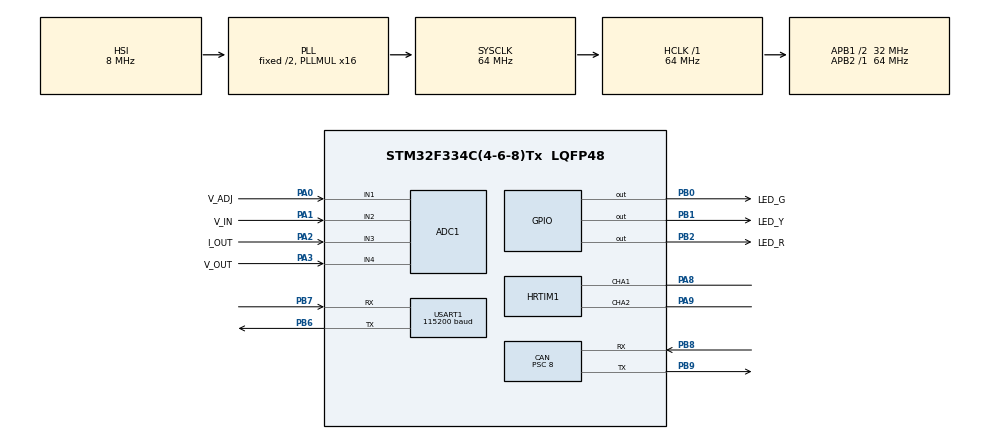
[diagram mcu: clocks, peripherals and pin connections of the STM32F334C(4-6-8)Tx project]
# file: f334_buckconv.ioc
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ADC1.ContinuousConvMode=DISABLE
ADC1.EnableInjectedConversion=ENABLE
ADC1.EnableRegularConversion=DISABLE
ADC1.ExternalTrigInjecConv=ADC_EXTERNALTRIGINJECCONV_HRTIM_TRG2
ADC1.InjNumberOfConversion=4
ADC1.InjectedChannel-12\#ChannelInjectedConversion=ADC_CHANNEL_1
ADC1.InjectedChannel-13\#ChannelInjectedConversion=ADC_CHANNEL_2
ADC1.InjectedChannel-14\#ChannelInjectedConversion=ADC_CHANNEL_3
ADC1.InjectedChannel-15\#ChannelInjectedConversion=ADC_CHANNEL_4
ADC1.InjectedOffset-12\#ChannelInjectedConversion=0
ADC1.InjectedOffset-13\#ChannelInjectedConversion=0
ADC1.InjectedOffset-14\#ChannelInjectedConversion=0
ADC1.InjectedOffset-15\#ChannelInjectedConversion=0
ADC1.InjectedOffsetNumber-12\#ChannelInjectedConversion=ADC_OFFSET_NONE
ADC1.InjectedOffsetNumber-13\#ChannelInjectedConversion=ADC_OFFSET_NONE
ADC1.InjectedOffsetNumber-14\#ChannelInjectedConversion=ADC_OFFSET_NONE
ADC1.InjectedOffsetNumber-15\#ChannelInjectedConversion=ADC_OFFSET_NONE
ADC1.InjectedRank-12\#ChannelInjectedConversion=1
ADC1.InjectedRank-13\#ChannelInjectedConversion=2
ADC1.InjectedRank-14\#ChannelInjectedConversion=3
ADC1.InjectedRank-15\#ChannelInjectedConversion=4
ADC1.InjectedSamplingTime-12\#ChannelInjectedConversion=ADC_SAMPLETIME_2CYCLES_5
ADC1.InjectedSamplingTime-13\#ChannelInjectedConversion=ADC_SAMPLETIME_2CYCLES_5
ADC1.InjectedSamplingTime-14\#ChannelInjectedConversion=ADC_SAMPLETIME_2CYCLES_5
ADC1.InjectedSamplingTime-15\#ChannelInjectedConversion=ADC_SAMPLETIME_2CYCLES_5
ADC1.InjectedSamplingTimeOPAMP-12\#ChannelInjectedConversion=ADC_SAMPLETIME_61CYCLES_5
ADC1.InjectedSamplingTimeOPAMP-13\#ChannelInjectedConversion=ADC_SAMPLETIME_61CYCLES_5
ADC1.InjectedSamplingTimeOPAMP-14\#ChannelInjectedConversion=ADC_SAMPLETIME_61CYCLES_5
ADC1.InjectedSamplingTimeOPAMP-15\#ChannelInjectedConversion=ADC_SAMPLETIME_61CYCLES_5
ADC1.Rank1_Channel=ADC_CHANNEL_1
ADC1.Rank2_Channel=ADC_CHANNEL_2
ADC1.Rank3_Channel=ADC_CHANNEL_3
ADC1.Rank4_Channel=ADC_CHANNEL_4
ADC1.SubFamily=STM32F334x8
ADC1.master=1
CAN.BS1=CAN_BS1_2TQ
CAN.CalculateBaudRate=1000000
CAN.CalculateTimeBit=1000
CAN.CalculateTimeQuantum=250.0
CAN.Mode=CAN_MODE_NORMAL
CAN.Prescaler=8
Dma.Request0=USART1_RX
Dma.Request1=USART1_TX
Dma.USART1_RX.0.Direction=DMA_PERIPH_TO_MEMORY
Dma.USART1_RX.0.Instance=DMA1_Channel5
Dma.USART1_RX.0.MemDataAlignment=DMA_MDATAALIGN_BYTE
Dma.USART1_RX.0.MemInc=DMA_MINC_ENABLE
Dma.USART1_RX.0.Mode=DMA_NORMAL
Dma.USART1_RX.0.PeriphDataAlignment=DMA_PDATAALIGN_BYTE
Dma.USART1_RX.0.PeriphInc=DMA_PINC_DISABLE
Dma.USART1_RX.0.Priority=DMA_PRIORITY_LOW
Dma.USART1_TX.1.Direction=DMA_MEMORY_TO_PERIPH
Dma.USART1_TX.1.Instance=DMA1_Channel4
Dma.USART1_TX.1.MemDataAlignment=DMA_MDATAALIGN_BYTE
Dma.USART1_TX.1.MemInc=DMA_MINC_ENABLE
Dma.USART1_TX.1.Mode=DMA_NORMAL
Dma.USART1_TX.1.PeriphDataAlignment=DMA_PDATAALIGN_BYTE
Dma.USART1_TX.1.PeriphInc=DMA_PINC_DISABLE
Dma.USART1_TX.1.Priority=DMA_PRIORITY_LOW
HRTIM1.ADCTrigger2_Source1=HRTIM_ADCTRIGGEREVENT24_TIMERA_CMP3
HRTIM1.ADCTrigger_Id1=__NULL
HRTIM1.ADCTrigger_Id2=HRTIM_ADCTRIGGER_2
HRTIM1.CompareUnit1-Output_TA1TA2=HRTIM_COMPAREUNIT_1
HRTIM1.CompareUnit2-Output_TA1TA2=__NULL
HRTIM1.CompareUnit3-Output_TA1TA2=HRTIM_COMPAREUNIT_3
HRTIM1.CompareUnit4-Output_TA1TA2=__NULL
HRTIM1.CompareValue1-Output_TA1TA2=1000
HRTIM1.CompareValue3-Output_TA1TA2=200
HRTIM1.DeadTimeInsertion-Output_TA1TA2=HRTIM_TIMDEADTIMEINSERTION_ENABLED
HRTIM1.FallingValue-Output_TA1TA2=150
HRTIM1.NumberADCTriggerSource2=1
HRTIM1.NumberResetSource1-Output_TA1TA2=1
HRTIM1.NumberSetSource1-Output_TA1TA2=1
HRTIM1.Periode_TA=10240
HRTIM1.PrescalerRatio_TA=HRTIM_PRESCALERRATIO_MUL16
HRTIM1.RepetitionCounter-Output_TA1TA2=10-1
HRTIM1.ResetOutput1_Source1-Output_TA1TA2=HRTIM_OUTPUTRESET_TIMCMP1
HRTIM1.RisingValue-Output_TA1TA2=150
HRTIM1.SetOutput1_Source1-Output_TA1TA2=HRTIM_OUTPUTSET_TIMPER
Mcu.Family=STM32F3
Mcu.Name=STM32F334C(4-6-8)Tx
Mcu.Package=LQFP48
NVIC.ADC1_2_IRQn=true\:0\:0\:false\:false\:true\:true\:true\:true
NVIC.CAN_RX0_IRQn=true\:0\:0\:false\:false\:true\:true\:true\:true
NVIC.DMA1_Channel4_IRQn=true\:0\:0\:false\:false\:true\:false\:true\:true
NVIC.DMA1_Channel5_IRQn=true\:0\:0\:false\:false\:true\:false\:true\:true
NVIC.PriorityGroup=NVIC_PRIORITYGROUP_4
NVIC.TIM1_UP_TIM16_IRQn=true\:0\:0\:false\:false\:true\:true\:true\:true
NVIC.USART1_IRQn=true\:0\:0\:false\:false\:true\:true\:true\:true
PA0.GPIO_Label=V_ADJ
PA0.Mode=IN1-Single-Ended
PA0.Signal=ADC1_IN1
PA1.GPIO_Label=V_IN
PA1.Mode=IN2-Single-Ended
PA1.Signal=ADC1_IN2
PA2.GPIO_Label=I_OUT
PA2.Mode=IN3-Single-Ended
PA2.Signal=ADC1_IN3
PA3.GPIO_Label=V_OUT
PA3.Mode=IN4-Single-Ended
PA3.Signal=ADC1_IN4
PA8.Mode=Output_TA1TA2
PA8.Signal=HRTIM1_CHA1
PA9.Mode=Output_TA1TA2
PA9.Signal=HRTIM1_CHA2
PB0.GPIO_Label=LED_G
PB0.Signal=GPIO_Output
PB1.GPIO_Label=LED_Y
PB1.Signal=GPIO_Output
PB2.GPIO_Label=LED_R
PB2.Signal=GPIO_Output
PB6.Mode=Asynchronous
PB6.Signal=USART1_TX
PB7.Mode=Asynchronous
PB7.Signal=USART1_RX
PB8.GPIO_PuPd=GPIO_NOPULL
PB8.Mode=CAN_Activate
PB8.Signal=CAN_RX
PB9.Mode=CAN_Activate
PB9.Signal=CAN_TX
ProjectManager.HeapSize=0x200
ProjectManager.StackSize=0x400
ProjectManager.TargetToolchain=STM32CubeIDE
RCC.AHBFreq_Value=64000000
RCC.APB1CLKDivider=RCC_HCLK_DIV2
RCC.APB1Freq_Value=32000000
RCC.APB1TimFreq_Value=64000000
RCC.APB2Freq_Value=64000000
RCC.APB2TimFreq_Value=64000000
RCC.CortexFreq_Value=64000000
RCC.HCLKFreq_Value=64000000
RCC.HRTIMSelection=RCC_HRTIM1CLK_PLLCLK
RCC.HSE_VALUE=8000000
RCC.HSI_VALUE=8000000
RCC.LSE_VALUE=32768
RCC.PLLMUL=RCC_PLL_MUL16
RCC.SYSCLKFreq_VALUE=64000000
RCC.SYSCLKSourceVirtual=RCC_SYSCLKSOURCE_PLLCLK
RCC.TIM1Selection=RCC_TIM1CLK_PLLCLK
TIM1.Period=500-1
TIM1.Prescaler=64-1
USART1.AutoBaudRateEnableParam=UART_ADVFEATURE_AUTOBAUDRATE_DISABLE
USART1.BaudRate=115200
USART1.VirtualMode-Asynchronous=VM_ASYNC
VP_TIM1_VS_ClockSourceINT.Mode=Internal
board=custom

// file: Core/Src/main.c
/* USER CODE BEGIN Header */
/**
  ******************************************************************************
  * @file           : main.c
  * @brief          : Main program body
  ******************************************************************************
  * @attention
  *
  * Copyright (c) 2026 STMicroelectronics.
  * All rights reserved.
  *
  * This software is licensed under terms that can be found in the LICENSE file
  * in the root directory of this software component.
  * If no LICENSE file comes with this software, it is provided AS-IS.
  *
  ******************************************************************************
  */
/* USER CODE END Header */
#include "main.h"

/* USER CODE BEGIN Includes */
#include "controller_app.h"
#include <string.h>
#include "stdbool.h"
/* USER CODE END Includes */

ADC_HandleTypeDef hadc1;

CAN_HandleTypeDef hcan;

HRTIM_HandleTypeDef hhrtim1;

TIM_HandleTypeDef htim1;

UART_HandleTypeDef huart1;
DMA_HandleTypeDef hdma_usart1_rx;
DMA_HandleTypeDef hdma_usart1_tx;

void SystemClock_Config(void);
static void MX_GPIO_Init(void);
static void MX_DMA_Init(void);
static void MX_HRTIM1_Init(void);
static void MX_TIM1_Init(void);
static void MX_ADC1_Init(void);
static void MX_USART1_UART_Init(void);
static void MX_CAN_Init(void);

/* USER CODE BEGIN 0 */

#define VOLTAGE_ADC_FACTOR 3.3f/4096.0f
#define R1_VIN_DIVIDER 3300.0f
#define R2_VIN_DIVIDER 47000.0f

//#define VIN_ADC_FACTOR 0.01228027344
#define VIN_ADC_FACTOR VOLTAGE_ADC_FACTOR*(R1_VIN_DIVIDER+R2_VIN_DIVIDER)/R1_VIN_DIVIDER

#define RF_VOUT 3300.0f
#define RINV_VOUT 47000.0f
#define VOUT_GAIN RF_VOUT/RINV_VOUT

#define VOUT_ADC_FACTOR 0.01147460938
//#define VOUT_ADC_FACTOR VOLTAGE_ADC_FACTOR/VOUT_GAIN

#define RF_IOUT 33000.0f
#define RINV_IOUT 100.0f
#define IOUT_GAIN RF_IOUT/RINV_IOUT
#define RSHUNT_IOUT 0.001f

#define IOUT_ADC_FACTOR 0.0024414062
//#define IOUT_ADC_FACTOR VOLTAGE_ADC_FACTOR/(IOUT_GAIN*RSHUNT_IOUT)

#define HRTIM_PERIOD 10240
#define MAX_DUTY_CYCLE (HRTIM_PERIOD * 0.95f) // จำกัด Duty สูงสุดที่ 95% เพื่อความปลอดภัย

#define VOLTAGE_OUTPUT_LIMIT 8.0f //Volt
#define CURRENT_OUTPUT_LIMIT 0.25f  //Amp

uint32_t new_duty_cycle_value = 2000;
uint32_t count_check = 0;
uint16_t adc_adj = 0;
uint16_t adc_vin = 0;
uint16_t adc_vo = 0;
uint16_t adc_io = 0;
uint16_t even_loop = 0;

uint8_t calibration_flag = 0;

uint16_t controller_mode = VOLTAGE_CONTROL_MODE;
CONTROL_MODE last_mode = UNKNOW_CONTROL_MODE;

uint32_t previous_milliseccond = 0;
uint32_t period_time = 20;

float v_adj = 0.0f;
float v_in = 0.0f;
float v_out = 0.0f;
float i_out = 0.0f;
float i_out_offset = 0.0341796875f;
float target_current = 0.0f;
float target_voltage = 0.0f;
float sp_input = 12.0f;

//PI_Controller pi_current = {0.042412f, 86.70796f, 0.000005f, 0.0f, 4.0f};
PI_Controller pi_current = {40.0f, 100000.0f, 0.00005f, 0.0f, MAX_DUTY_CYCLE};
PI_Controller pi_voltage = {0.1f, 40.0f, 0.0005f, 0.0f, 4.5f};

uint8_t uart_rx_buf[64];
uint16_t uart_rx_buf_size = 0;

CAN_TxHeaderTypeDef can_tx_header = {0x127 , 0, CAN_ID_STD , CAN_RTR_DATA , 8};
uint8_t can_tx_data[8] = {0};
uint32_t can_tx_mailbox;

CAN_RxHeaderTypeDef can_rx_header = {0};
uint8_t can_rx_data[8] = {0};
uint32_t can_rx_mailbox;

float update_pi(PI_Controller *pi, float error) {

    float p_term = pi->Kp * error;
    pi->integral += pi->Ki * pi->Ts * error;
    if (pi->integral > pi->out_max) pi->integral = pi->out_max;
    else if (pi->integral < -pi->out_max) pi->integral = -pi->out_max;
    float output = p_term + pi->integral;
    if (output > pi->out_max) output = pi->out_max;
    else if (output < -pi->out_max) output = -pi->out_max;

    return output;
}

void HAL_UARTEx_RxEventCallback(UART_HandleTypeDef *huart, uint16_t Size){

	uart_rx_buf_size = Size;
	parse_command((char*)uart_rx_buf);
	memset(uart_rx_buf, 0, sizeof(uart_rx_buf));
	HAL_UARTEx_ReceiveToIdle_DMA(&huart1, uart_rx_buf, 64);
	__HAL_DMA_DISABLE_IT(huart1.hdmarx, DMA_IT_HT);
}

void HAL_UART_ErrorCallback(UART_HandleTypeDef *huart) {
    if(huart->ErrorCode & HAL_UART_ERROR_ORE) {
        // เกิด Overrun Error - ข้อมูลมาเร็วเกินไปจนรับไม่ทัน
        __HAL_UART_CLEAR_OREFLAG(huart); // เคลียร์ Flag เพื่อให้ทำงานต่อได้
    }
    // หลังจากเคลียร์ Error ต้องสั่งเริ่มรับข้อมูลใหม่เสมอ
    HAL_UARTEx_ReceiveToIdle_DMA(huart, uart_rx_buf, 64);
}

void HAL_TIM_PeriodElapsedCallback(TIM_HandleTypeDef *htim){
	if (htim->Instance == TIM1){

        switch (controller_mode){
        case VOLTAGE_CONTROL_MODE :
        	if (sp_input > 28.0)sp_input = 28.0f;

        	if (sp_input > target_voltage){
        		target_voltage = target_voltage + 0.01;
        	}
        	else if (sp_input < target_voltage){
        		target_voltage = target_voltage - 0.01;
        	}
        	target_current = update_pi(&pi_voltage,target_voltage - v_out);
        	break;
        case CURRENT_CONTROL_MODE :
        	if (sp_input > 0.25f)sp_input = 0.25f;
        	target_current = sp_input;
        	break;
	    default:
	        break;
        }

	}

}

void HAL_ADCEx_InjectedConvCpltCallback(ADC_HandleTypeDef* hadc){

	adc_adj = hadc1.Instance->JDR1; // อ่านค่าจาก Injected Data Register 1 ตรงๆ
	adc_vin = hadc1.Instance->JDR2;
	adc_io  = hadc1.Instance->JDR3;
	adc_vo  = hadc1.Instance->JDR4;

	v_in = adc_vin*VIN_ADC_FACTOR;
	v_out = adc_vo*VOUT_ADC_FACTOR;
	i_out = adc_io*IOUT_ADC_FACTOR - i_out_offset;

	float pid_output = update_pi(&pi_current, target_current - i_out);
	if (pid_output < 0.0f) pid_output = 0.0f;
	new_duty_cycle_value = (uint32_t)pid_output;

	__HAL_HRTIM_SETCOMPARE(&hhrtim1, HRTIM_TIMERINDEX_TIMER_A, HRTIM_COMPAREUNIT_1, new_duty_cycle_value);

}

bool emergency_shunt_48 = 0;
bool emergency_shunt_24 = 0;
bool emergency_shunt_12 = 0;

void HAL_CAN_RxFifo0MsgPendingCallback(CAN_HandleTypeDef *hcan){
	if (hcan->Instance == CAN){
		HAL_CAN_GetRxMessage(hcan, CAN_RX_FIFO0, &can_rx_header, can_rx_data);
		count_check++;
		HAL_GPIO_TogglePin(LED_G_GPIO_Port, LED_G_Pin);
		if (can_rx_header.StdId == 0x111){
			emergency_shunt_48 = can_rx_data[0] & 0x1;
			emergency_shunt_24 = can_rx_data[0] >> 1 & 0x1;
			emergency_shunt_12 = can_rx_data[0] >> 2 & 0x1;
		}
	}
}

/* USER CODE END 0 */

int main(void)
{

  /* MCU Configuration--------------------------------------------------------*/

  /* Reset of all peripherals, Initializes the Flash interface and the Systick. */
  HAL_Init();

  /* Configure the system clock */
  SystemClock_Config();

  /* Initialize all configured peripherals */
  MX_GPIO_Init();
  MX_DMA_Init();
  MX_HRTIM1_Init();
  MX_TIM1_Init();
  MX_ADC1_Init();
  MX_USART1_UART_Init();
  MX_CAN_Init();
  /* USER CODE BEGIN 2 */

  if (HAL_HRTIM_WaveformOutputStart(&hhrtim1, HRTIM_OUTPUT_TA1 | HRTIM_OUTPUT_TA2)!= HAL_OK)
  {
    Error_Handler();
  }

  if (HAL_HRTIM_WaveformCountStart(&hhrtim1, HRTIM_TIMERID_TIMER_A)!= HAL_OK)
  {
    Error_Handler();
  }

  HAL_TIM_Base_Start_IT(&htim1);

  HAL_UARTEx_ReceiveToIdle_DMA(&huart1, uart_rx_buf, 64);
  __HAL_DMA_DISABLE_IT(huart1.hdmarx, DMA_IT_HT);

  HAL_ADCEx_Calibration_Start(&hadc1, ADC_SINGLE_ENDED);
  HAL_ADCEx_InjectedStart_IT(&hadc1);

  HAL_CAN_Start(&hcan);
  HAL_CAN_ActivateNotification(&hcan, CAN_IT_RX_FIFO0_MSG_PENDING);

  /* USER CODE END 2 */

  /* Infinite loop */
  while (1)
  {

    /* USER CODE BEGIN 3 */
		if (HAL_GetTick() - previous_milliseccond > period_time){

			memset(can_tx_data , 0 ,8);
			can_tx_data[4] = ((uint16_t)(v_out * 1000)) & 0xff;
			can_tx_data[5] = ((uint16_t)(v_out * 1000)) >> 8 & 0xff;
			can_tx_data[6] = ((uint16_t)(v_in * 1000)) & 0xff;
			can_tx_data[7] = ((uint16_t)(v_in * 1000)) >> 8 & 0xff;
			can_tx_header.StdId = 0x127;
			HAL_CAN_AddTxMessage(&hcan, &can_tx_header, can_tx_data, &can_tx_mailbox);
			memset(can_tx_data , 0 ,8);
			can_tx_data[0] = ((uint16_t)(i_out * 1000)) & 0xff;
			can_tx_data[1] = ((uint16_t)(i_out * 1000)) >> 8 & 0xff;
			can_tx_header.StdId = 0x128;
			HAL_CAN_AddTxMessage(&hcan, &can_tx_header, can_tx_data, &can_tx_mailbox);

			float plot_data[16];
			uint16_t len = 0;

			switch (controller_mode) {
			case VOLTAGE_CONTROL_MODE:

				plot_data[len++] = target_voltage;
				plot_data[len++] = v_out;
				break;
			case CURRENT_CONTROL_MODE:
				plot_data[len++] = target_current;
				plot_data[len++] = i_out;
				break;
			case CAL_SENSOR:
//				plot_data[len++] = theta_mech;
//				plot_data[len++] = theta_elec;
				break;
			default:
				break;
			}

			send_data_float(plot_data, len);
		    if (controller_mode != last_mode) {
		    	last_mode = controller_mode;

		    	HAL_Delay(2);
		    	print_mode(controller_mode);
		    	erase_graph(); HAL_Delay(2);
				switch (controller_mode) {
				case VOLTAGE_CONTROL_MODE:
					send_data_float(plot_data, len); HAL_Delay(2);
					change_title("VOLTAGE CONTROL MODE"); HAL_Delay(2);
					change_legend(0, "target"); HAL_Delay(2);
					change_legend(1, "Voltage"); HAL_Delay(2);
					break;
				case CURRENT_CONTROL_MODE:
					send_data_float(plot_data, len); HAL_Delay(2);
					change_title("CURRENT CONTROL MODE"); HAL_Delay(2);
					change_legend(0, "target"); HAL_Delay(2);
					change_legend(1, "Current"); HAL_Delay(2);
					break;
				case CAL_SENSOR:
					send_data_float(plot_data, len); HAL_Delay(2);
					change_title("CALIBRATE SENSOR MODE"); HAL_Delay(2);
//					change_legend(0, "theta mech"); HAL_Delay(2);
//					change_legend(1, "theta elec"); HAL_Delay(2);
					calibration_flag = 0;
					HAL_Delay(100);

					HAL_Delay(100);
					calibration_flag = 1;
					break;
				default:
					break;
				}
		    }
		    previous_milliseccond = HAL_GetTick() ;
		}
  }
  /* USER CODE END 3 */
}

void SystemClock_Config(void)
{
  RCC_OscInitTypeDef RCC_OscInitStruct = {0};
  RCC_ClkInitTypeDef RCC_ClkInitStruct = {0};
  RCC_PeriphCLKInitTypeDef PeriphClkInit = {0};

  /** Initializes the RCC Oscillators according to the specified parameters
  * in the RCC_OscInitTypeDef structure.
  */
  RCC_OscInitStruct.OscillatorType = RCC_OSCILLATORTYPE_HSI;
  RCC_OscInitStruct.HSIState = RCC_HSI_ON;
  RCC_OscInitStruct.HSICalibrationValue = RCC_HSICALIBRATION_DEFAULT;
  RCC_OscInitStruct.PLL.PLLState = RCC_PLL_ON;
  RCC_OscInitStruct.PLL.PLLSource = RCC_PLLSOURCE_HSI;
  RCC_OscInitStruct.PLL.PLLMUL = RCC_PLL_MUL16;
  if (HAL_RCC_OscConfig(&RCC_OscInitStruct) != HAL_OK)
  {
    Error_Handler();
  }

  /** Initializes the CPU, AHB and APB buses clocks
  */
  RCC_ClkInitStruct.ClockType = RCC_CLOCKTYPE_HCLK|RCC_CLOCKTYPE_SYSCLK
                              |RCC_CLOCKTYPE_PCLK1|RCC_CLOCKTYPE_PCLK2;
  RCC_ClkInitStruct.SYSCLKSource = RCC_SYSCLKSOURCE_PLLCLK;
  RCC_ClkInitStruct.AHBCLKDivider = RCC_SYSCLK_DIV1;
  RCC_ClkInitStruct.APB1CLKDivider = RCC_HCLK_DIV2;
  RCC_ClkInitStruct.APB2CLKDivider = RCC_HCLK_DIV1;

  if (HAL_RCC_ClockConfig(&RCC_ClkInitStruct, FLASH_LATENCY_2) != HAL_OK)
  {
    Error_Handler();
  }
  PeriphClkInit.PeriphClockSelection = RCC_PERIPHCLK_HRTIM1|RCC_PERIPHCLK_USART1
                              |RCC_PERIPHCLK_TIM1|RCC_PERIPHCLK_ADC12;
  PeriphClkInit.Usart1ClockSelection = RCC_USART1CLKSOURCE_PCLK1;
  PeriphClkInit.Adc12ClockSelection = RCC_ADC12PLLCLK_DIV1;
  PeriphClkInit.Tim1ClockSelection = RCC_TIM1CLK_PLLCLK;
  PeriphClkInit.Hrtim1ClockSelection = RCC_HRTIM1CLK_PLLCLK;
  if (HAL_RCCEx_PeriphCLKConfig(&PeriphClkInit) != HAL_OK)
  {
    Error_Handler();
  }
}

static void MX_ADC1_Init(void)
{

  ADC_MultiModeTypeDef multimode = {0};
  ADC_InjectionConfTypeDef sConfigInjected = {0};

  /** Common config
  */
  hadc1.Instance = ADC1;
  hadc1.Init.ClockPrescaler = ADC_CLOCK_ASYNC_DIV1;
  hadc1.Init.Resolution = ADC_RESOLUTION_12B;
  hadc1.Init.ScanConvMode = ADC_SCAN_ENABLE;
  hadc1.Init.ContinuousConvMode = DISABLE;
  hadc1.Init.DiscontinuousConvMode = DISABLE;
  hadc1.Init.DataAlign = ADC_DATAALIGN_RIGHT;
  hadc1.Init.NbrOfConversion = 1;
  hadc1.Init.DMAContinuousRequests = DISABLE;
  hadc1.Init.EOCSelection = ADC_EOC_SINGLE_CONV;
  hadc1.Init.LowPowerAutoWait = DISABLE;
  hadc1.Init.Overrun = ADC_OVR_DATA_OVERWRITTEN;
  if (HAL_ADC_Init(&hadc1) != HAL_OK)
  {
    Error_Handler();
  }

  /** Configure the ADC multi-mode
  */
  multimode.Mode = ADC_MODE_INDEPENDENT;
  if (HAL_ADCEx_MultiModeConfigChannel(&hadc1, &multimode) != HAL_OK)
  {
    Error_Handler();
  }

  /** Configure Injected Channel
  */
  sConfigInjected.InjectedChannel = ADC_CHANNEL_1;
  sConfigInjected.InjectedRank = ADC_INJECTED_RANK_1;
  sConfigInjected.InjectedSingleDiff = ADC_SINGLE_ENDED;
  sConfigInjected.InjectedNbrOfConversion = 4;
  sConfigInjected.InjectedSamplingTime = ADC_SAMPLETIME_2CYCLES_5;
  sConfigInjected.ExternalTrigInjecConvEdge = ADC_EXTERNALTRIGINJECCONV_EDGE_RISING;
  sConfigInjected.ExternalTrigInjecConv = ADC_EXTERNALTRIGINJECCONV_HRTIM_TRG2;
  sConfigInjected.AutoInjectedConv = DISABLE;
  sConfigInjected.InjectedDiscontinuousConvMode = DISABLE;
  sConfigInjected.QueueInjectedContext = DISABLE;
  sConfigInjected.InjectedOffset = 0;
  sConfigInjected.InjectedOffsetNumber = ADC_OFFSET_NONE;
  if (HAL_ADCEx_InjectedConfigChannel(&hadc1, &sConfigInjected) != HAL_OK)
  {
    Error_Handler();
  }

  /** Configure Injected Channel
  */
  sConfigInjected.InjectedChannel = ADC_CHANNEL_2;
  sConfigInjected.InjectedRank = ADC_INJECTED_RANK_2;
  if (HAL_ADCEx_InjectedConfigChannel(&hadc1, &sConfigInjected) != HAL_OK)
  {
    Error_Handler();
  }

  /** Configure Injected Channel
  */
  sConfigInjected.InjectedChannel = ADC_CHANNEL_3;
  sConfigInjected.InjectedRank = ADC_INJECTED_RANK_3;
  if (HAL_ADCEx_InjectedConfigChannel(&hadc1, &sConfigInjected) != HAL_OK)
  {
    Error_Handler();
  }

  /** Configure Injected Channel
  */
  sConfigInjected.InjectedChannel = ADC_CHANNEL_4;
  sConfigInjected.InjectedRank = ADC_INJECTED_RANK_4;
  if (HAL_ADCEx_InjectedConfigChannel(&hadc1, &sConfigInjected) != HAL_OK)
  {
    Error_Handler();
  }

}

static void MX_CAN_Init(void)
{

  hcan.Instance = CAN;
  hcan.Init.Prescaler = 8;
  hcan.Init.Mode = CAN_MODE_NORMAL;
  hcan.Init.SyncJumpWidth = CAN_SJW_1TQ;
  hcan.Init.TimeSeg1 = CAN_BS1_2TQ;
  hcan.Init.TimeSeg2 = CAN_BS2_1TQ;
  hcan.Init.TimeTriggeredMode = DISABLE;
  hcan.Init.AutoBusOff = DISABLE;
  hcan.Init.AutoWakeUp = DISABLE;
  hcan.Init.AutoRetransmission = DISABLE;
  hcan.Init.ReceiveFifoLocked = DISABLE;
  hcan.Init.TransmitFifoPriority = DISABLE;
  if (HAL_CAN_Init(&hcan) != HAL_OK)
  {
    Error_Handler();
  }
  /* USER CODE BEGIN CAN_Init 2 */

  CAN_FilterTypeDef sFilterConfig;

	sFilterConfig.FilterBank = 0;
	sFilterConfig.FilterMode = CAN_FILTERMODE_IDMASK;
	sFilterConfig.FilterScale = CAN_FILTERSCALE_32BIT;
	sFilterConfig.FilterIdHigh = 0x0000;
	sFilterConfig.FilterIdLow = 0x0000;
	sFilterConfig.FilterMaskIdHigh = 0x0000;
	sFilterConfig.FilterMaskIdLow = 0x0000;
	sFilterConfig.FilterFIFOAssignment = CAN_RX_FIFO0;
	sFilterConfig.FilterActivation = ENABLE;
	sFilterConfig.SlaveStartFilterBank = 14;

	if (HAL_CAN_ConfigFilter(&hcan, &sFilterConfig) != HAL_OK)
	{
	  Error_Handler();
	}
  /* USER CODE END CAN_Init 2 */

}

static void MX_HRTIM1_Init(void)
{

  HRTIM_ADCTriggerCfgTypeDef pADCTriggerCfg = {0};
  HRTIM_TimeBaseCfgTypeDef pTimeBaseCfg = {0};
  HRTIM_TimerCfgTypeDef pTimerCfg = {0};
  HRTIM_CompareCfgTypeDef pCompareCfg = {0};
  HRTIM_DeadTimeCfgTypeDef pDeadTimeCfg = {0};
  HRTIM_OutputCfgTypeDef pOutputCfg = {0};

  hhrtim1.Instance = HRTIM1;
  hhrtim1.Init.HRTIMInterruptResquests = HRTIM_IT_NONE;
  hhrtim1.Init.SyncOptions = HRTIM_SYNCOPTION_NONE;
  if (HAL_HRTIM_Init(&hhrtim1) != HAL_OK)
  {
    Error_Handler();
  }
  if (HAL_HRTIM_DLLCalibrationStart(&hhrtim1, HRTIM_CALIBRATIONRATE_14) != HAL_OK)
  {
    Error_Handler();
  }
  if (HAL_HRTIM_PollForDLLCalibration(&hhrtim1, 10) != HAL_OK)
  {
    Error_Handler();
  }
  pADCTriggerCfg.UpdateSource = HRTIM_ADCTRIGGERUPDATE_TIMER_A;
  pADCTriggerCfg.Trigger = HRTIM_ADCTRIGGEREVENT24_TIMERA_CMP3;
  if (HAL_HRTIM_ADCTriggerConfig(&hhrtim1, HRTIM_ADCTRIGGER_2, &pADCTriggerCfg) != HAL_OK)
  {
    Error_Handler();
  }
  pTimeBaseCfg.Period = 10240;
  pTimeBaseCfg.RepetitionCounter = 10-1;
  pTimeBaseCfg.PrescalerRatio = HRTIM_PRESCALERRATIO_MUL16;
  pTimeBaseCfg.Mode = HRTIM_MODE_CONTINUOUS;
  if (HAL_HRTIM_TimeBaseConfig(&hhrtim1, HRTIM_TIMERINDEX_TIMER_A, &pTimeBaseCfg) != HAL_OK)
  {
    Error_Handler();
  }
  pTimerCfg.InterruptRequests = HRTIM_TIM_IT_NONE;
  pTimerCfg.DMARequests = HRTIM_TIM_DMA_NONE;
  pTimerCfg.DMASrcAddress = 0x0000;
  pTimerCfg.DMADstAddress = 0x0000;
  pTimerCfg.DMASize = 0x1;
  pTimerCfg.HalfModeEnable = HRTIM_HALFMODE_DISABLED;
  pTimerCfg.StartOnSync = HRTIM_SYNCSTART_DISABLED;
  pTimerCfg.ResetOnSync = HRTIM_SYNCRESET_DISABLED;
  pTimerCfg.DACSynchro = HRTIM_DACSYNC_NONE;
  pTimerCfg.PreloadEnable = HRTIM_PRELOAD_DISABLED;
  pTimerCfg.UpdateGating = HRTIM_UPDATEGATING_INDEPENDENT;
  pTimerCfg.BurstMode = HRTIM_TIMERBURSTMODE_MAINTAINCLOCK;
  pTimerCfg.RepetitionUpdate = HRTIM_UPDATEONREPETITION_DISABLED;
  pTimerCfg.PushPull = HRTIM_TIMPUSHPULLMODE_DISABLED;
  pTimerCfg.FaultEnable = HRTIM_TIMFAULTENABLE_NONE;
  pTimerCfg.FaultLock = HRTIM_TIMFAULTLOCK_READWRITE;
  pTimerCfg.DeadTimeInsertion = HRTIM_TIMDEADTIMEINSERTION_ENABLED;
  pTimerCfg.DelayedProtectionMode = HRTIM_TIMER_A_B_C_DELAYEDPROTECTION_DISABLED;
  pTimerCfg.UpdateTrigger = HRTIM_TIMUPDATETRIGGER_NONE;
  pTimerCfg.ResetTrigger = HRTIM_TIMRESETTRIGGER_NONE;
  pTimerCfg.ResetUpdate = HRTIM_TIMUPDATEONRESET_DISABLED;
  if (HAL_HRTIM_WaveformTimerConfig(&hhrtim1, HRTIM_TIMERINDEX_TIMER_A, &pTimerCfg) != HAL_OK)
  {
    Error_Handler();
  }
  pCompareCfg.CompareValue = 1000;
  if (HAL_HRTIM_WaveformCompareConfig(&hhrtim1, HRTIM_TIMERINDEX_TIMER_A, HRTIM_COMPAREUNIT_1, &pCompareCfg) != HAL_OK)
  {
    Error_Handler();
  }
  pCompareCfg.CompareValue = 200;
  if (HAL_HRTIM_WaveformCompareConfig(&hhrtim1, HRTIM_TIMERINDEX_TIMER_A, HRTIM_COMPAREUNIT_3, &pCompareCfg) != HAL_OK)
  {
    Error_Handler();
  }
  pDeadTimeCfg.Prescaler = HRTIM_TIMDEADTIME_PRESCALERRATIO_MUL8;
  pDeadTimeCfg.RisingValue = 150;
  pDeadTimeCfg.RisingSign = HRTIM_TIMDEADTIME_RISINGSIGN_POSITIVE;
  pDeadTimeCfg.RisingLock = HRTIM_TIMDEADTIME_RISINGLOCK_WRITE;
  pDeadTimeCfg.RisingSignLock = HRTIM_TIMDEADTIME_RISINGSIGNLOCK_WRITE;
  pDeadTimeCfg.FallingValue = 150;
  pDeadTimeCfg.FallingSign = HRTIM_TIMDEADTIME_FALLINGSIGN_POSITIVE;
  pDeadTimeCfg.FallingLock = HRTIM_TIMDEADTIME_FALLINGLOCK_WRITE;
  pDeadTimeCfg.FallingSignLock = HRTIM_TIMDEADTIME_FALLINGSIGNLOCK_WRITE;
  if (HAL_HRTIM_DeadTimeConfig(&hhrtim1, HRTIM_TIMERINDEX_TIMER_A, &pDeadTimeCfg) != HAL_OK)
  {
    Error_Handler();
  }
  pOutputCfg.Polarity = HRTIM_OUTPUTPOLARITY_HIGH;
  pOutputCfg.SetSource = HRTIM_OUTPUTSET_TIMPER;
  pOutputCfg.ResetSource = HRTIM_OUTPUTRESET_TIMCMP1;
  pOutputCfg.IdleMode = HRTIM_OUTPUTIDLEMODE_NONE;
  pOutputCfg.IdleLevel = HRTIM_OUTPUTIDLELEVEL_INACTIVE;
  pOutputCfg.FaultLevel = HRTIM_OUTPUTFAULTLEVEL_NONE;
  pOutputCfg.ChopperModeEnable = HRTIM_OUTPUTCHOPPERMODE_DISABLED;
  pOutputCfg.BurstModeEntryDelayed = HRTIM_OUTPUTBURSTMODEENTRY_REGULAR;
  if (HAL_HRTIM_WaveformOutputConfig(&hhrtim1, HRTIM_TIMERINDEX_TIMER_A, HRTIM_OUTPUT_TA1, &pOutputCfg) != HAL_OK)
  {
    Error_Handler();
  }
  pOutputCfg.SetSource = HRTIM_OUTPUTSET_NONE;
  pOutputCfg.ResetSource = HRTIM_OUTPUTRESET_NONE;
  if (HAL_HRTIM_WaveformOutputConfig(&hhrtim1, HRTIM_TIMERINDEX_TIMER_A, HRTIM_OUTPUT_TA2, &pOutputCfg) != HAL_OK)
  {
    Error_Handler();
  }
  HAL_HRTIM_MspPostInit(&hhrtim1);

}

static void MX_TIM1_Init(void)
{

  TIM_ClockConfigTypeDef sClockSourceConfig = {0};
  TIM_MasterConfigTypeDef sMasterConfig = {0};

  htim1.Instance = TIM1;
  htim1.Init.Prescaler = 64-1;
  htim1.Init.CounterMode = TIM_COUNTERMODE_UP;
  htim1.Init.Period = 500-1;
  htim1.Init.ClockDivision = TIM_CLOCKDIVISION_DIV1;
  htim1.Init.RepetitionCounter = 0;
  htim1.Init.AutoReloadPreload = TIM_AUTORELOAD_PRELOAD_DISABLE;
  if (HAL_TIM_Base_Init(&htim1) != HAL_OK)
  {
    Error_Handler();
  }
  sClockSourceConfig.ClockSource = TIM_CLOCKSOURCE_INTERNAL;
  if (HAL_TIM_ConfigClockSource(&htim1, &sClockSourceConfig) != HAL_OK)
  {
    Error_Handler();
  }
  sMasterConfig.MasterOutputTrigger = TIM_TRGO_RESET;
  sMasterConfig.MasterOutputTrigger2 = TIM_TRGO2_RESET;
  sMasterConfig.MasterSlaveMode = TIM_MASTERSLAVEMODE_DISABLE;
  if (HAL_TIMEx_MasterConfigSynchronization(&htim1, &sMasterConfig) != HAL_OK)
  {
    Error_Handler();
  }

}

static void MX_USART1_UART_Init(void)
{

  huart1.Instance = USART1;
  huart1.Init.BaudRate = 115200;
  huart1.Init.WordLength = UART_WORDLENGTH_8B;
  huart1.Init.StopBits = UART_STOPBITS_1;
  huart1.Init.Parity = UART_PARITY_NONE;
  huart1.Init.Mode = UART_MODE_TX_RX;
  huart1.Init.HwFlowCtl = UART_HWCONTROL_NONE;
  huart1.Init.OverSampling = UART_OVERSAMPLING_16;
  huart1.Init.OneBitSampling = UART_ONE_BIT_SAMPLE_DISABLE;
  huart1.AdvancedInit.AdvFeatureInit = UART_ADVFEATURE_NO_INIT;
  if (HAL_UART_Init(&huart1) != HAL_OK)
  {
    Error_Handler();
  }

}

static void MX_DMA_Init(void)
{

  /* DMA controller clock enable */
  __HAL_RCC_DMA1_CLK_ENABLE();

  /* DMA interrupt init */
  /* DMA1_Channel4_IRQn interrupt configuration */
  HAL_NVIC_SetPriority(DMA1_Channel4_IRQn, 0, 0);
  HAL_NVIC_EnableIRQ(DMA1_Channel4_IRQn);
  /* DMA1_Channel5_IRQn interrupt configuration */
  HAL_NVIC_SetPriority(DMA1_Channel5_IRQn, 0, 0);
  HAL_NVIC_EnableIRQ(DMA1_Channel5_IRQn);

}

static void MX_GPIO_Init(void)
{
  GPIO_InitTypeDef GPIO_InitStruct = {0};

  /* GPIO Ports Clock Enable */
  __HAL_RCC_GPIOA_CLK_ENABLE();
  __HAL_RCC_GPIOB_CLK_ENABLE();

  /*Configure GPIO pin Output Level */
  HAL_GPIO_WritePin(GPIOB, LED_G_Pin|LED_Y_Pin|LED_R_Pin, GPIO_PIN_RESET);

  /*Configure GPIO pins : LED_G_Pin LED_Y_Pin LED_R_Pin */
  GPIO_InitStruct.Pin = LED_G_Pin|LED_Y_Pin|LED_R_Pin;
  GPIO_InitStruct.Mode = GPIO_MODE_OUTPUT_PP;
  GPIO_InitStruct.Pull = GPIO_NOPULL;
  GPIO_InitStruct.Speed = GPIO_SPEED_FREQ_LOW;
  HAL_GPIO_Init(GPIOB, &GPIO_InitStruct);

}

void Error_Handler(void)
{
  __disable_irq();
  while (1)
  {
  }
}
